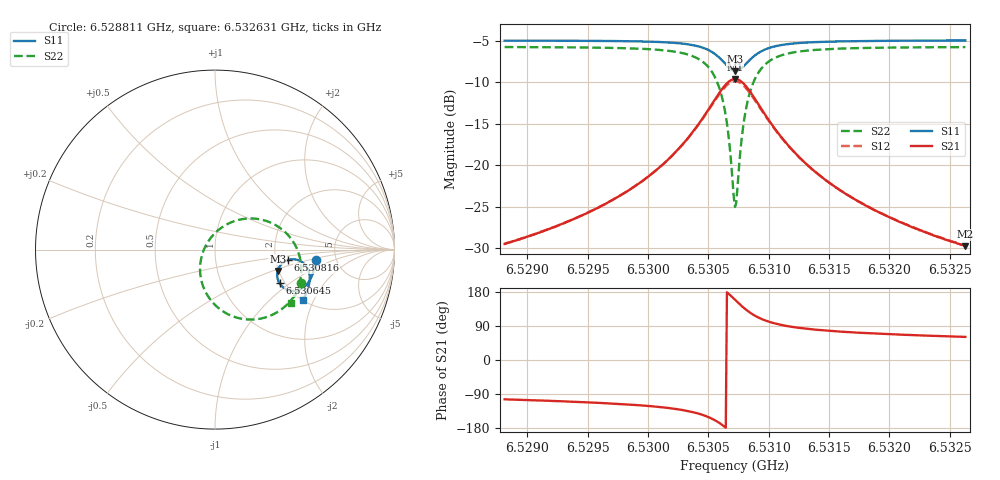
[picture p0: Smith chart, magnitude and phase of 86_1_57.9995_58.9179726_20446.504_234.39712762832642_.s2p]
#  HZ  S  RI  R  50.00
! Rohde & Schwarz Vector Network Analyzer
! Rohde-Schwarz,ZNB20-2Port,1311601062101988,3.16
! Created: UTC 3/21/2024, 12:54:06 AM
! freq[Hz]  re:S11  im:S11  re:S21  im:S21  re:S12  im:S12  re:S22  im:S22
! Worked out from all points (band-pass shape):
!   401 points, 6.528811 GHz to 6.532631 GHz, reference 50 ohm
!   highest |S21| = -9.61 dB at 6.530721 GHz (marker M1); lowest = -29.8 dB at 6.532631 GHz (marker M2)
!   |S21| within 3 dB of the highest: 6.530531 GHz to 6.530913 GHz (382 kHz wide, 0.00585 % of centre)
!   lowest |S11| = -8.7 dB at 6.530721 GHz (marker M3), VSWR 2.17, Z = 98.7 - j27.2 ohm
!   |S11| at or under -10 dB: nowhere
!   |S22| runs from -25.0 to -5.7 dB; largest |S21 - S12| = 0.014
!   S11 on the Smith chart (normalised r, x): 6.528811 GHz: 3.48, -0.57; 6.530645 GHz: 1.88, -0.84; 6.530816 GHz: 2.34, -0.33; 6.532631 GHz: 2.02, -1.66
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6.5288109e9  0.5607 -0.056  -0.00796 -0.0326  -0.00874 -0.0325  0.4813 -0.1858
6.5294508e9  0.5514 -0.1107  -0.0178 -0.0465  -0.019 -0.0461  0.4488 -0.2479
6.5298137e9  0.5402 -0.1463  -0.0312 -0.0612  -0.0328 -0.0605  0.4139 -0.2934
6.5300907e9  0.5239 -0.1782  -0.0538 -0.08  -0.0561 -0.0786  0.3629 -0.3381
6.5303199e9  0.4945 -0.2102  -0.0991 -0.1023  -0.1023 -0.0987  0.271 -0.3806
6.5304822e9  0.4462 -0.2295  -0.1757 -0.1086  -0.1783 -0.1008  0.1307 -0.3816
6.5305777e9  0.3967 -0.2211  -0.2532 -0.0758  -0.2515 -0.0647  0.00293 -0.3109
6.5306159e9  0.3743 -0.2058  -0.2861 -0.0424  -0.2815 -0.0306  -0.0463 -0.248
6.5306446e9  0.3596 -0.1878  -0.3066 -0.00668  -0.299 0.00416  -0.0728 -0.1845
6.5306732e9  0.3495 -0.1643  -0.3184 0.0372  -0.3082 0.0462  -0.0835 -0.1096
6.5307019e9  0.3466 -0.1372  -0.3176 0.0859  -0.3055 0.092  -0.0723 -0.0298
6.530721e9  0.3494 -0.1189  -0.3089 0.1184  -0.2964 0.1222  -0.0517 0.0215
6.5307401e9  0.3562 -0.1014  -0.2941 0.1485  -0.2816 0.1502  -0.0218 0.0679
6.5307783e9  0.3788 -0.0736  -0.2499 0.1957  -0.2395 0.1938  0.0591 0.1368
6.5308165e9  0.4077 -0.0579  -0.1977 0.2216  -0.19 0.2177  0.15 0.1695
6.5308833e9  0.4541 -0.056  -0.1165 0.2245  -0.1126 0.2208  0.2865 0.1595
6.5309788e9  0.4955 -0.0779  -0.0463 0.1922  -0.0446 0.19  0.4001 0.0883
6.5311221e9  0.5203 -0.1147  -0.00342 0.1424  -0.0023 0.1417  0.4636 -0.0126
6.5313609e9  0.528 -0.1588  0.015 0.0933  0.0161 0.0931  0.4808 -0.1152
6.5316474e9  0.5237 -0.1952  0.0186 0.064  0.0196 0.0637  0.4719 -0.1835
6.5320007e9  0.5135 -0.2296  0.018 0.0451  0.0188 0.0449  0.4545 -0.2353
6.532631e9  0.4912 -0.2793  0.0158 0.0284  0.0164 0.0284  0.4219 -0.2959
